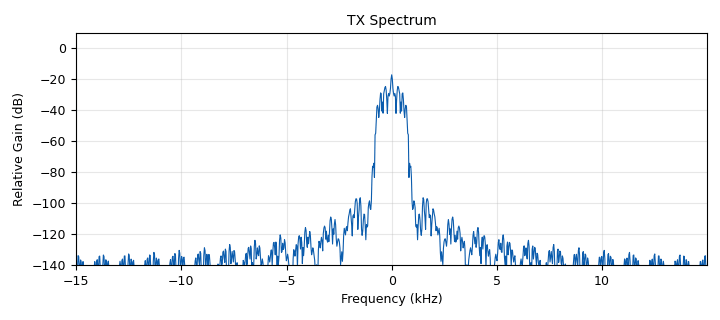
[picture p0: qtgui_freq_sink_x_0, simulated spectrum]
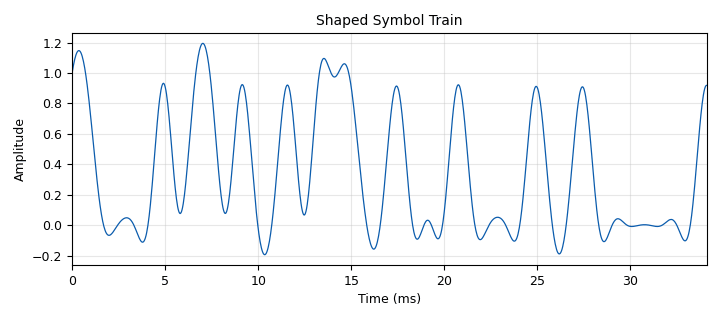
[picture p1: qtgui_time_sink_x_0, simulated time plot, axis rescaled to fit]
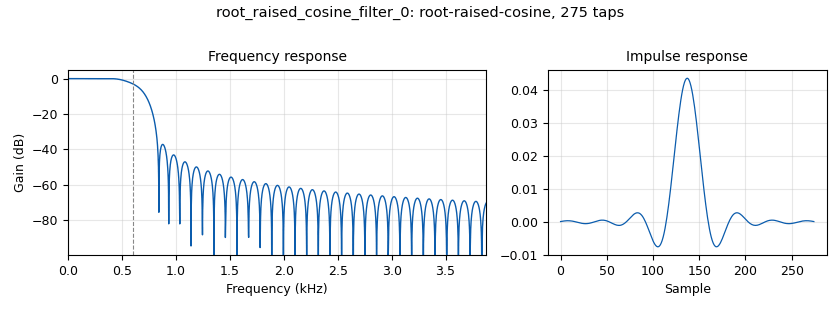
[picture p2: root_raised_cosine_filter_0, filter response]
options:
  parameters:
    author: student
    generate_options: qt_gui
    id: ook_tx
    output_language: python
    title: ook_tx
  states: {}

blocks:
- name: baud
  id: variable
  parameters:
    value: '1200'
  states: {}
- name: payload
  id: variable
  parameters:
    value: '''I am over the air!  '''
  states: {}
- name: samp_rate
  id: variable
  parameters:
    value: sps*baud
  states: {}
- name: sps
  id: variable
  parameters:
    value: '25'
  states: {}
- name: upsamp
  id: variable
  parameters:
    value: '50'
  states: {}
- name: analog_const_source_x_0
  id: analog_const_source_x
  parameters:
    const: '0'
    type: float
  states: {}
- name: blocks_float_to_complex_0
  id: blocks_float_to_complex
  parameters: {}
  states: {}
- name: blocks_packed_to_unpacked_xx_0
  id: blocks_packed_to_unpacked_xx
  parameters:
    bits_per_chunk: '1'
    endianness: gr.GR_MSB_FIRST
    type: byte
  states: {}
- name: blocks_vector_source_x_0
  id: blocks_vector_source_x
  parameters:
    repeat: 'True'
    type: byte
    vector: list(ord(i) for i in payload)
  states: {}
- name: epy_block_0
  id: epy_block
  parameters:
    _source_code: |
      """
      Embedded Python Blocks:

      Each time this file is saved, GRC will instantiate the first class it finds
      to get ports and parameters of your block. The arguments to __init__  will
      be the parameters. All of them are required to have default values!
      """

      import numpy as np
      from gnuradio import gr


      class blk(gr.interp_block):  # other base classes are basic_block, decim_block, interp_block

          def __init__(self, scale=1.0, sps=25):  # only default arguments here
              gr.interp_block.__init__(
                  self,
                  name='Unipolar NRZ Encoder',   # will show up in GRC
                  in_sig=[np.int8],
                  out_sig=[np.float32],
                  interp=sps
              )
              # if an attribute with the same name as a parameter is found,
              # a callback is registered (properties work, too).
              self.scale = scale
              self.sps = sps

          def work(self, input_items, output_items):
              output_items[0][:] = np.kron(input_items[0], np.ones(self.sps))*self.scale
              return len(output_items[0])
    scale: '1'
    sps: sps
  states: {}
- name: epy_block_1
  id: epy_block
  parameters:
    _source_code: |
      """
      Embedded Python Blocks:

      Each time this file is saved, GRC will instantiate the first class it finds
      to get ports and parameters of your block. The arguments to __init__  will
      be the parameters. All of them are required to have default values!
      """

      import numpy as np
      from gnuradio import gr


      class blk(gr.sync_block):  # other base classes are basic_block, decim_block, interp_block

          def __init__(self, samp_rate=30e3, baud=1200):  # only default arguments here
              gr.sync_block.__init__(
                  self,
                  name='Gaussian Filter - py',   # will show up in GRC
                  in_sig=[np.float32],
                  out_sig=[np.float32]
              )
              # if an attribute with the same name as a parameter is found,
              # a callback is registered (properties work, too).
              self.sigma = samp_rate/(2*np.pi*baud)
              self.N = int(np.ceil(6*self.sigma - 1) // 2 * 2 + 1) # force up to next odd integer
              x = np.linspace(-5*self.sigma, 5*self.sigma, self.N)
              self.g = 1/np.sqrt(2*np.pi*self.sigma**2) * np.exp(-x**2/(2*self.sigma**2))
              #print('Generated gaussian kernel with N = ' + str(self.N))
              self.last_buf = np.zeros(self.N-1)

          def work(self, input_items, output_items):
              work_conv = np.concatenate((self.last_buf, input_items[0]))

              # for i in range(0, output_items[0].size):
              #     s = 0

              #     for j in range(0, self.g.size):
              #         s += work_conv[i-j+self.N-1] * self.g[j]

              #     output_items[0][i] = s

              output_items[0][:] = np.convolve(work_conv, self.g, 'valid')

              self.last_buf = input_items[0][-(self.N-1):]

              return len(output_items[0])
    baud: baud
    samp_rate: samp_rate
  states: {state: disabled}
- name: hb_filters_gaussian_filter_0
  id: hb_filters_gaussian_filter
  parameters:
    baud: '1200'
    samp_rate: '30000'
  states: {state: disabled}
- name: limesdr_sink_0
  id: limesdr_sink
  parameters:
    allow_tcxo_dac: '0'
    channel_mode: '0'
    digital_bandw_ch0: samp_rate*upsamp
    gain_dB_ch0: '40'
    oversample: '0'
    rf_freq: 100e6
    samp_rate: samp_rate*upsamp
  states: {}
- name: osmosdr_sink_0
  id: osmosdr_sink
  parameters:
    bb_gain0: '20'
    freq0: 423e6
    gain0: '10'
    if_gain0: '20'
    sample_rate: samp_rate*upsamp
    sync: sync
    type: fc32
  states: {state: disabled}
- name: qtgui_freq_sink_x_0
  id: qtgui_freq_sink_x
  parameters:
    bw: samp_rate
    fc: '0'
    fftsize: '1024'
    grid: 'True'
    legend: 'False'
    name: TX Spectrum
    type: float
  states: {}
- name: qtgui_time_sink_x_0
  id: qtgui_time_sink_x
  parameters:
    grid: 'True'
    legend: 'False'
    name: Shaped Symbol Train
    size: '1024'
    srate: samp_rate
    type: float
  states: {}
- name: rational_resampler_xxx_0
  id: rational_resampler_xxx
  parameters:
    decim: '1'
    interp: upsamp
    taps: ''
    type: ccc
  states: {}
- name: root_raised_cosine_filter_0
  id: root_raised_cosine_filter
  parameters:
    alpha: '0.35'
    decim: '1'
    gain: '1'
    ntaps: 11*sps
    samp_rate: samp_rate
    sym_rate: baud
    type: fir_filter_fff
  states: {}

connections:
- [analog_const_source_x_0, '0', blocks_float_to_complex_0, '1']
- [blocks_float_to_complex_0, '0', rational_resampler_xxx_0, '0']
- [blocks_packed_to_unpacked_xx_0, '0', epy_block_0, '0']
- [blocks_vector_source_x_0, '0', blocks_packed_to_unpacked_xx_0, '0']
- [epy_block_0, '0', epy_block_1, '0']
- [epy_block_0, '0', hb_filters_gaussian_filter_0, '0']
- [epy_block_0, '0', root_raised_cosine_filter_0, '0']
- [epy_block_1, '0', blocks_float_to_complex_0, '0']
- [epy_block_1, '0', qtgui_time_sink_x_0, '0']
- [hb_filters_gaussian_filter_0, '0', blocks_float_to_complex_0, '0']
- [rational_resampler_xxx_0, '0', limesdr_sink_0, '0']
- [rational_resampler_xxx_0, '0', osmosdr_sink_0, '0']
- [root_raised_cosine_filter_0, '0', blocks_float_to_complex_0, '0']
- [root_raised_cosine_filter_0, '0', qtgui_freq_sink_x_0, '0']
- [root_raised_cosine_filter_0, '0', qtgui_time_sink_x_0, '0']

metadata:
  file_format: 1
